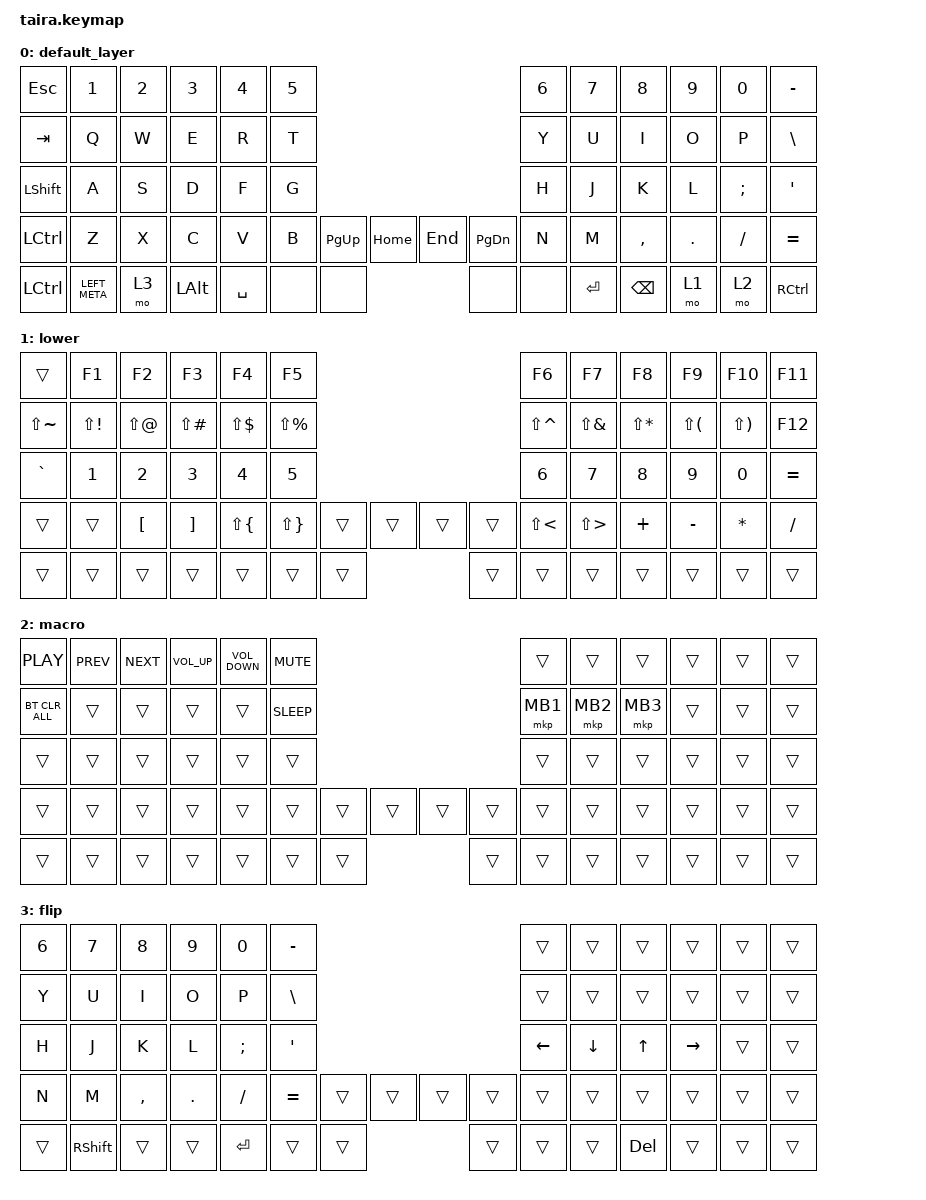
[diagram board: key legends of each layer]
/*
 * Copyright (c) 2020 The ZMK Contributors
 *
 * SPDX-License-Identifier: MIT
 */

#include <behaviors.dtsi>
#include <dt-bindings/zmk/bt.h>
#include <dt-bindings/zmk/keys.h>
#include <dt-bindings/zmk/mouse.h>

/ {
    macros {
        tmux_next: tmux_next {
            compatible = "zmk,behavior-macro";
            #binding-cells = <0>;
            bindings = <&kp LC(SPACE) &kp N>;
            label = "TMUX_NEXT";
        };

        tmux_prev: tmux_prev {
            compatible = "zmk,behavior-macro";
            #binding-cells = <0>;
            bindings = <&kp LC(SPACE) &kp P>;
            label = "TMUX_PREV";
        };
    };

    keymap {
        compatible = "zmk,keymap";

        default_layer {
            bindings = <
&kp ESCAPE      &kp N1         &kp N2  &kp N3        &kp N4  &kp N5                                                                     &kp N6  &kp N7  &kp N8         &kp N9   &kp N0    &kp MINUS
&kp TAB         &kp Q          &kp W   &kp E         &kp R   &kp T                                                                      &kp Y   &kp U   &kp I          &kp O    &kp P     &kp BSLH
&kp LEFT_SHIFT  &kp A          &kp S   &kp D         &kp F   &kp G                                                                      &kp H   &kp J   &kp K          &kp L    &kp SEMI  &kp SQT
&kp LCTRL       &kp Z          &kp X   &kp C         &kp V   &kp B              &kp PG_UP  &kp HOME  &kp END  &kp PAGE_DOWN             &kp N   &kp M   &kp COMMA      &kp DOT  &kp FSLH  &kp EQUAL
&kp LCTRL       &kp LEFT_META  &mo 3   &kp LEFT_ALT                  &kp SPACE  &none      &none     &none    &none          &kp ENTER                  &kp BACKSPACE  &mo 1    &mo 2     &kp RCTRL
            >;
        };

        lower {
            bindings = <
&trans         &kp F1        &kp F2      &kp F3         &kp F4        &kp F5                                                         &kp F6         &kp F7        &kp F8        &kp F9        &kp F10       &kp F11
&kp LS(TILDE)  &kp LS(EXCL)  &kp LS(AT)  &kp LS(POUND)  &kp LS(DLLR)  &kp LS(PRCNT)                                                  &kp LS(CARET)  &kp LS(AMPS)  &kp LS(STAR)  &kp LS(LPAR)  &kp LS(RPAR)  &kp F12
&kp GRAVE      &kp N1        &kp N2      &kp N3         &kp N4        &kp N5                                                         &kp N6         &kp N7        &kp N8        &kp N9        &kp N0        &kp EQUAL
&trans         &trans        &kp LBKT    &kp RBKT       &kp LS(LBRC)  &kp LS(RBRC)           &trans  &trans  &trans  &trans          &kp LS(LT)     &kp LS(GT)    &kp PLUS      &kp MINUS     &kp STAR      &kp FSLH
&trans         &trans        &trans      &trans                                      &trans  &trans  &trans  &trans  &trans  &trans                               &trans        &trans        &trans        &trans
            >;
        };

        macro {
            bindings = <
&kp C_PLAY      &kp C_PREV  &kp C_NEXT  &kp C_VOLUME_UP  &kp C_VOLUME_DOWN  &kp K_MUTE                                                   &trans    &trans    &trans    &trans  &trans  &trans
&bt BT_CLR_ALL  &trans      &trans      &trans           &trans             &kp C_SLEEP                                                  &mkp MB1  &mkp MB2  &mkp MB3  &trans  &trans  &trans
&trans          &trans      &trans      &trans           &trans             &trans                                                       &trans    &trans    &trans    &trans  &trans  &trans
&trans          &trans      &trans      &trans           &trans             &trans               &trans  &trans  &trans  &trans          &trans    &trans    &trans    &trans  &trans  &trans
&trans          &trans      &trans      &trans                                           &trans  &trans  &trans  &trans  &trans  &trans                      &trans    &trans  &trans  &trans
            >;
        };

        flip {
            bindings = <
&kp N6  &kp N7           &kp N8     &kp N9   &kp N0    &kp MINUS                                                     &trans    &trans    &trans        &trans     &trans  &trans
&kp Y   &kp U            &kp I      &kp O    &kp P     &kp BSLH                                                      &trans    &trans    &trans        &trans     &trans  &trans
&kp H   &kp J            &kp K      &kp L    &kp SEMI  &kp SQT                                                       &kp LEFT  &kp DOWN  &kp UP_ARROW  &kp RIGHT  &trans  &trans
&kp N   &kp M            &kp COMMA  &kp DOT  &kp FSLH  &kp EQUAL             &trans  &trans  &trans  &trans          &trans    &trans    &trans        &trans     &trans  &trans
&trans  &kp RIGHT_SHIFT  &trans     &trans                        &kp ENTER  &trans  &trans  &trans  &trans  &trans                      &kp DELETE    &trans     &trans  &trans
            >;
        };
    };
};
